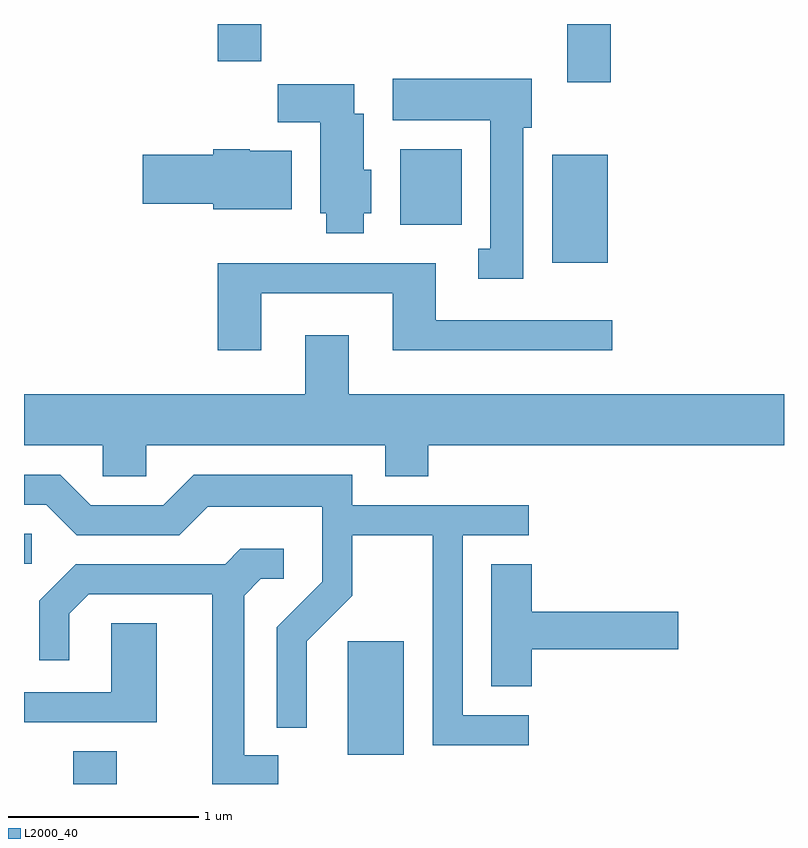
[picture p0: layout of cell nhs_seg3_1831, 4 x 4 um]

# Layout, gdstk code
import gdstk
lib = gdstk.Library(unit=1e-6, precision=1e-09)
def R(c, l, rs):  # rectangles x0, y0, x1, y1
    for r in rs: c.add(gdstk.rectangle(r[:2], r[2:], *l))
def P(c, l, *ps):  # polygons
    for p in ps: c.add(gdstk.Polygon(p, *l))
L2000_40 = (2000, 40)

nhs_seg3_1831 = lib.new_cell('nhs_seg3_1831')
R(nhs_seg3_1831, L2000_40, [(237.871,1241.892,238.099,1242.064), (239.316,1242.046,239.609,1242.644), (237.611,1243.051,237.653,1243.209), (240.391,1244.636,240.684,1245.204), (239.591,1244.836,239.914,1245.234), (240.471,1245.586,240.699,1245.892), (238.631,1245.696,238.859,1245.892)])
P(nhs_seg3_1831, L2000_40, [(240.239,1245.346),(240.284,1245.346),(240.284,1245.604),(239.551,1245.604),(239.551,1245.386),(240.066,1245.386),(240.066,1244.709),(240.003,1244.709),(240.003,1244.551),(240.239,1244.551)],
  [(239.399,1244.896),(239.439,1244.896),(239.439,1245.124),(239.399,1245.124),(239.399,1245.419),(239.349,1245.419),(239.349,1245.574),(238.946,1245.574),(238.946,1245.376),(239.171,1245.376),(239.171,1244.896),(239.201,1244.896),(239.201,1244.791),(239.399,1244.791)],
  [(239.019,1245.224),(238.8,1245.224),(238.8,1245.234),(238.606,1245.234),(238.606,1245.204),(238.236,1245.204),(238.236,1244.946),(238.606,1244.946),(238.606,1244.916),(239.019,1244.916)],
  [(238.859,1244.476),(239.551,1244.476),(239.551,1244.176),(240.708,1244.176),(240.708,1244.334),(239.779,1244.334),(239.779,1244.634),(238.631,1244.634),(238.631,1244.176),(238.859,1244.176)],
  [(238.254,1243.676),(239.511,1243.676),(239.511,1243.511),(239.739,1243.511),(239.739,1243.676),(241.611,1243.676),(241.611,1243.944),(239.319,1243.944),(239.319,1244.254),(239.091,1244.254),(239.091,1243.944),(237.611,1243.944),(237.611,1243.676),(238.026,1243.676),(238.026,1243.511),(238.254,1243.511)],
  [(240.268,1242.254),(239.919,1242.254),(239.919,1243.201),(240.268,1243.201),(240.268,1243.359),(239.339,1243.359),(239.339,1243.519),(238.504,1243.519),(238.344,1243.359),(237.962,1243.359),(237.802,1243.519),(237.611,1243.519),(237.611,1243.361),(237.729,1243.361),(237.889,1243.201),(238.427,1243.201),(238.577,1243.351),(239.181,1243.351),(239.181,1242.957),(238.941,1242.717),(238.941,1242.188),(239.099,1242.188),(239.099,1242.644),(239.339,1242.884),(239.339,1243.201),(239.761,1243.201),(239.761,1242.096),(240.268,1242.096)],
  [(238.948,1242.044),(238.769,1242.044),(238.769,1242.884),(238.857,1242.971),(238.978,1242.971),(238.978,1243.129),(238.749,1243.129),(238.669,1243.049),(237.884,1243.049),(237.691,1242.857),(237.691,1242.543),(237.849,1242.543),(237.849,1242.789),(237.952,1242.891),(238.601,1242.891),(238.601,1241.892),(238.948,1241.892)],
  [(240.284,1242.601),(241.054,1242.601),(241.054,1242.799),(240.284,1242.799),(240.284,1243.049),(240.071,1243.049),(240.071,1242.406),(240.284,1242.406)],
  [(238.309,1242.739),(238.071,1242.739),(238.071,1242.374),(237.611,1242.374),(237.611,1242.216),(238.309,1242.216)])

lib.write_gds('nhs_seg3_1831.gds')
